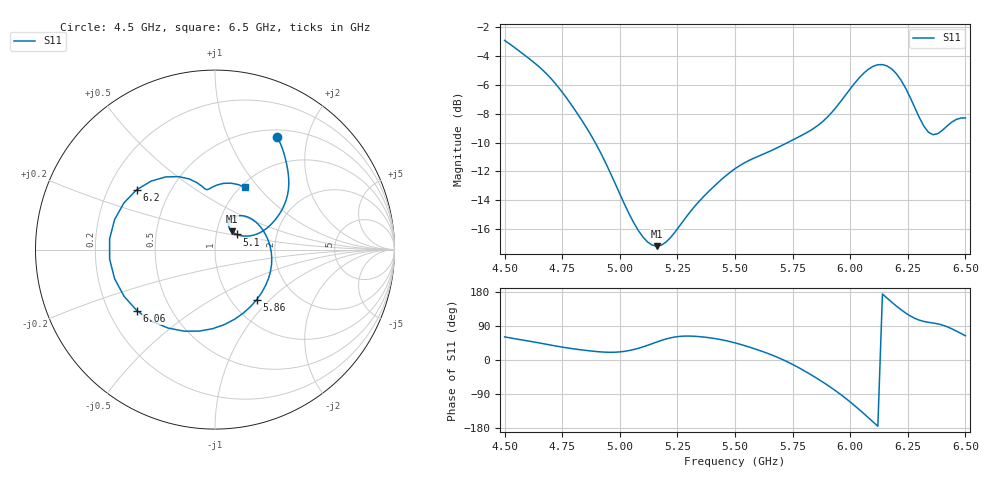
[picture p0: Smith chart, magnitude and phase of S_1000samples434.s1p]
! TOUCHSTONE file generated by CST MICROWAVE STUDIO
! Date and time: Fri Oct 28 04:11:21 2022
! Project name: L.cst
! Parameters = {Di=1.27; Epsilon_r=1.56; InnerDiameter=1.27; Length=2; Lf=10; Lg=60; OuterConductorThickness=0.2921; OuterDiameter=3.6; Wf=3; Wp=41.2; de=1.5; df=6.8; g=0.8; gx=0.616568; gy=2.16081; h=2.34; hf=1.524; px=10.6677; py=9.03384; w=9.7; wx=10.0512; wy=6.87303}
! Header version: 2018
! Port assignment regex: !\s*Touchstone port\s*([0-9]+)\s*=\s*(CST MWS port|CST DS port)\s*([0-9]+|Zmin|Zmax)\s*\(\"(.*)\"\)(\s*mode\s*([0-9]+))?.*
! Touchstone port assignment:
! Touchstone port 1 = CST MWS port 1 ("")
# GHz S DB R 50
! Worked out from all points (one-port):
!   101 points, 4.5 GHz to 6.5 GHz, reference 50 ohm
!   lowest |S11| = -17.2 dB at 5.16 GHz (marker M1), VSWR 1.32, Z = 59 + j12.2 ohm
!   |S11| at or under -10 dB: 4.893 GHz to 5.728 GHz (834.5 MHz wide, 15.7 % of centre)
!   S11 on the Smith chart (normalised r, x): 4.5 GHz: 0.60, +1.53; 5.1 GHz: 1.26, +0.22; 5.86 GHz: 1.30, -0.84; 6.06 GHz: 0.32, -0.31; 6.2 GHz: 0.32, +0.31; 6.5 GHz: 1.05, +0.85
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4.5  -2.90 61.0
4.64  -4.60 46.1
4.76  -6.71 33.0
4.88  -9.62 23.4
5  -13.56 21.4
5.1  -16.55 34.5
5.16  -17.19 47.4
5.26  -15.78 62.3
5.38  -13.48 59.4
5.5  -11.81 45.2
5.64  -10.68 17.9
5.76  -9.74 -14.9
5.86  -8.81 -50.1
5.94  -7.52 -82.7
6  -6.27 -110.7
6.04  -5.49 -131.3
6.06  -5.16 -141.9
6.1  -4.70 -163.8
6.12  -4.59 -174.9
6.16  -4.67 163.3
6.2  -5.21 142.6
6.22  -5.65 133.0
6.26  -6.85 116.5
6.3  -8.26 105.1
6.36  -9.45 97.6
6.42  -8.85 87.9
6.46  -8.39 76.6
6.5  -8.29 64.0
